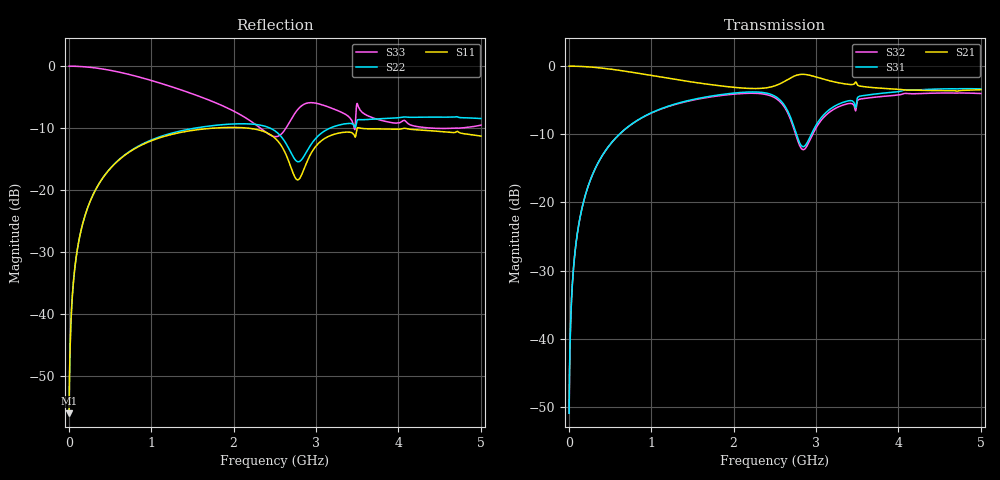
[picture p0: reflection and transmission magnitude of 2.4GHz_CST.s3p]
! TOUCHSTONE file generated by CST MICROWAVE STUDIO
! Date and time: Sat Feb 15 04:13:26 2025
! Project name: Patch antenna.cst
! Header version: 2024
! Port assignment regex: !\s*Touchstone port\s*([0-9]+)\s*=\s*(CST MWS port|CST DES external port|CST DES block port)\s*(.+)\s* \(\"(.*)\"\)(\s*mode\s*([0-9]+))?.*
! Touchstone port assignment:
! Touchstone port 1 = CST MWS port 1 ("Source")
! Touchstone port 2 = CST MWS port 2 ("Serial")
! Touchstone port 3 = CST MWS port 3 ("Parallel")
# GHz S MA R 50
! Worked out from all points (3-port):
!   1000 points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, 5 MHz to 5 GHz, reference 50 ohm
!   strongest paths, dB at 5 MHz, 1.255 GHz, 2.505 GHz, 3.755 GHz, 5 GHz:
!     S21: 0.0, -1.9, -2.9, -3.2, -3.5
!     S31: -51.0, -5.7, -4.4, -4.0, -3.3
!     S32: -50.9, -5.7, -4.7, -4.5, -4.0
!   lowest |S11| = -55.9 dB at 5 MHz (marker M1), VSWR 1.00, Z = 50 + j0.159 ohm
!   |S11| at or under -10 dB: start of sweep to 1.74 GHz; 2.182 GHz to 3.499 GHz (1.316 GHz wide, 46.3 % of centre); 3.538 GHz to end of sweep
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0.005  0.001595 89.7  1 -0.1  0.002834 89.7
       1 -0.1  0.001599 89.8  0.002838 -90.3
       0.002834 89.7  0.002838 -90.3  1 179.6
0.05  0.01596 86.9  0.9995 -1.3  0.02833 86.8
      0.9995 -1.3  0.01596 87.6  0.02833 -92.8
      0.02833 86.8  0.02833 -92.8  0.9992 176.2
0.125  0.03973 82.2  0.9967 -3.4  0.07056 81.9
       0.9967 -3.4  0.03974 83.9  0.07056 -97.1
       0.07056 81.9  0.07056 -97.1  0.995 170.5
0.485  0.1448 60.4  0.9551 -12.3  0.2584 59.5
       0.9551 -12.3  0.1453 67.1  0.2581 -116.7
       0.2584 59.5  0.2581 -116.7  0.9309 143.8
1.725  0.3157 0.7  0.7317 -27.3  0.6029 -2.1
       0.7317 -27.3  0.3306 25.6  0.5949 -168.6
       0.6029 -2.2  0.5949 -168.6  0.5255 60.3
2.505  0.2622 -41.6  0.7187 -22.7  0.6006 -46.7
       0.7186 -22.7  0.3 -1.9  0.5843 153.2
       0.6007 -46.7  0.5843 153.2  0.2705 -63.0
2.785  0.1217 -22.5  0.8645 -28.4  0.2894 -55.8
       0.8646 -28.4  0.1697 13.8  0.2768 146.3
       0.2892 -55.8  0.2768 146.3  0.4524 170.9
3.055  0.2475 -7.5  0.8141 -39.8  0.4129 -18.1
       0.814 -39.8  0.2851 32.5  0.3952 -172.8
       0.413 -18.2  0.3952 -172.8  0.4927 95.9
4.06  0.3148 -52.7  0.6697 -46.9  0.6656 -54.1
      0.6697 -46.9  0.3891 10.5  0.6275 160.4
      0.6656 -54.1  0.6276 160.4  0.3649 -2.3
5  0.2734 -93.0  0.6718 -49.0  0.6809 -88.3
   0.6718 -49.0  0.3785 -3.9  0.63 136.4
   0.6809 -88.3  0.6301 136.4  0.3345 -84.8
